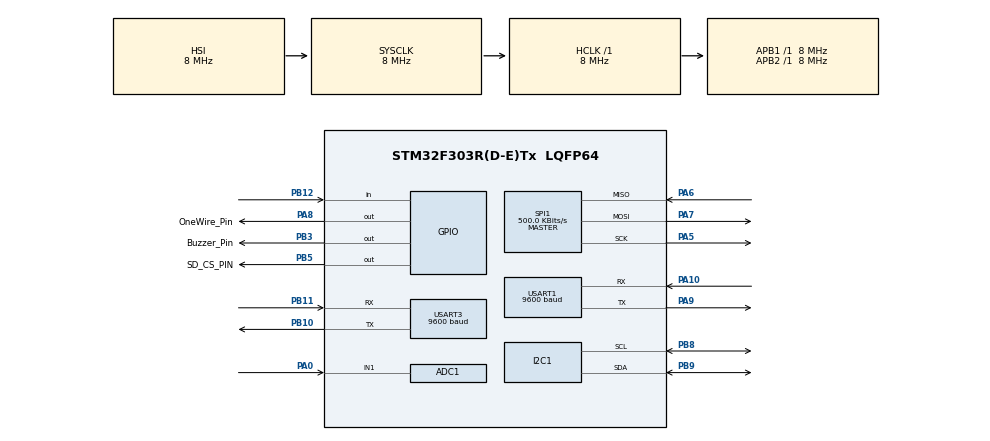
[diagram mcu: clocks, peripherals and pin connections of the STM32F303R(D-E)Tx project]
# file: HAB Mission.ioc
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ADC1.Channel-0\#ChannelRegularConversion=ADC_CHANNEL_1
ADC1.NbrOfConversionFlag=1
ADC1.Offset-0\#ChannelRegularConversion=0
ADC1.OffsetNumber-0\#ChannelRegularConversion=ADC_OFFSET_NONE
ADC1.Rank-0\#ChannelRegularConversion=1
ADC1.SamplingTime-0\#ChannelRegularConversion=ADC_SAMPLETIME_1CYCLE_5
ADC1.master=1
FREERTOS.Tasks01=defaultTask,24,256,StartDefaultTask,Default,NULL,Dynamic,NULL,NULL
FREERTOS.configUSE_NEWLIB_REENTRANT=1
I2C1.Timing=0x00201D2B
Mcu.Family=STM32F3
Mcu.Name=STM32F303R(D-E)Tx
Mcu.Package=LQFP64
NVIC.PriorityGroup=NVIC_PRIORITYGROUP_4
NVIC.USART1_IRQn=true\:5\:0\:false\:false\:true\:true\:true\:true\:true
PA0.Mode=IN1-Single-Ended
PA0.Signal=ADC1_IN1
PA10.Mode=Asynchronous
PA10.Signal=USART1_RX
PA13.Mode=Serial_Wire
PA13.Signal=SYS_JTMS-SWDIO
PA14.Mode=Serial_Wire
PA14.Signal=SYS_JTCK-SWCLK
PA2.Signal=USART2_TX
PA3.Signal=USART2_RX
PA5.Mode=Full_Duplex_Master
PA5.Signal=SPI1_SCK
PA6.Mode=Full_Duplex_Master
PA6.Signal=SPI1_MISO
PA7.Mode=Full_Duplex_Master
PA7.Signal=SPI1_MOSI
PA8.GPIO_Label=OneWire_Pin
PA8.GPIO_ModeDefaultOutputPP=GPIO_MODE_OUTPUT_OD
PA8.GPIO_PuPd=GPIO_NOPULL
PA8.Signal=GPIO_Output
PA9.Mode=Asynchronous
PA9.Signal=USART1_TX
PB10.Mode=Asynchronous
PB10.Signal=USART3_TX
PB11.Mode=Asynchronous
PB11.Signal=USART3_RX
PB12.Signal=GPIO_Input
PB3.GPIO_Label=Buzzer_Pin
PB3.Signal=GPIO_Output
PB5.GPIO_Label=SD_CS_PIN
PB5.Signal=GPIO_Output
PB8.Mode=I2C
PB8.Signal=I2C1_SCL
PB9.Mode=I2C
PB9.Signal=I2C1_SDA
ProjectManager.HeapSize=0x200
ProjectManager.StackSize=0x400
ProjectManager.TargetToolchain=STM32CubeIDE
RCC.AHBFreq_Value=8000000
RCC.APB1Freq_Value=8000000
RCC.APB2Freq_Value=8000000
RCC.CortexFreq_Value=8000000
RCC.HSE_VALUE=8000000
RCC.HSI_VALUE=8000000
RCC.LSE_VALUE=32768
RCC.SYSCLKFreq_VALUE=8000000
RCC.USBFreq_Value=16000000
SPI1.BaudRatePrescaler=SPI_BAUDRATEPRESCALER_16
SPI1.CalculateBaudRate=500.0 KBits/s
SPI1.DataSize=SPI_DATASIZE_8BIT
SPI1.Direction=SPI_DIRECTION_2LINES
SPI1.Mode=SPI_MODE_MASTER
SPI1.VirtualType=VM_MASTER
TIM2.Period=65535
TIM2.Prescaler=7
USART1.BaudRate=9600
USART1.VirtualMode-Asynchronous=VM_ASYNC
USART3.BaudRate=9600
USART3.VirtualMode-Asynchronous=VM_ASYNC
VP_FREERTOS_VS_CMSIS_V2.Mode=CMSIS_V2
VP_TIM2_VS_ClockSourceINT.Mode=Internal
board=custom

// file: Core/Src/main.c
/**
 * HICH TI FILE
  ******************************************************************************
  * @file           : main.c
  * @brief          : HAB-01 Flight Computer — Full Sensor Suite + LoRa + Nano SD Logging
  *
  * STM32F303RETx (Nucleo-F303RE)
  *
  * =========================================================================
  * ROOT CAUSE FIX — "Nano doesn't receive"
  * =========================================================================
  * The old code assigned the Nano to USART2 (PA2 / PA3).
  * On EVERY Nucleo-F303RE board, PA2 is HARDWIRED to the ST-Link chip for
  * the Virtual COM Port bridge.  The ST-Link fights every byte you send,
  * corrupting the line.  That is why the Nano never received data.
  *
  * FIX: Nano → USART1 (PA9 TX).  PA9 is on the Arduino header (D1) and has
  * NO ST-Link connection.  USART2 is removed entirely.
  *
  * UART ASSIGNMENT
  * ---------------
  *   USART1  PA9 (TX) / PA10 (RX)  →  Arduino Nano D2 SoftwareSerial (SD log)
  *   USART3  PB10(TX) / PB11(RX)   →  LoRa E32-433T30D
  *   (USART2 NOT USED — PA2 belongs to ST-Link)
  *
  * I2C1    PB8 (SCL) / PB9 (SDA)
  *   0x77  BMP180   — temperature + pressure
  *   0x53  ADXL345  — 3-axis accelerometer
  *   0x38  AHT10    — humidity + temperature
  *
  * OneWire  PA8  → DS18B20 external temperature
  * ADC1_IN1 PA0  → GUVA-S12SD UV sensor
  * TIM2         microsecond timer (prescaler=7 → 1 MHz @ 8 MHz SYSCLK)
  *
  * LoRa AUX busy pin → PB12 (GPIO input, no pull)
  * LoRa M0 → GND, M1 → GND  (transparent / broadcast mode)
  *
  * -------------------------------------------------------------------------
  * FreeRTOS HEAP
  * -------------------------------------------------------------------------
  *  Open  Core/Inc/FreeRTOSConfig.h
  *  Change:  #define configTOTAL_HEAP_SIZE  ((size_t)(3072))
  *  To:      #define configTOTAL_HEAP_SIZE  ((size_t)(10240))
  *  OR do it in CubeMX → Middleware → FREERTOS → TOTAL_HEAP_SIZE = 10240
  ******************************************************************************
  */
/* USER CODE END Header */
#include "main.h"
#include "cmsis_os.h"

/* USER CODE BEGIN Includes */
#include <stdio.h>
#include <string.h>
#include <math.h>
#include <stdlib.h>

/* USER CODE END Includes */

/* USER CODE BEGIN PD */
#define TELEM_BUF_SIZE   256
#define LORA_BUF_SIZE    256

/* LoRa E32 fixed addressing (address 0x0000, channel 0x06).
   Pass use_header=0 to LoRa_Send() for transparent/broadcast mode. */
#define LORA_ADDR_H  0x00
#define LORA_ADDR_L  0x00
#define LORA_CHAN     0x06
/* USER CODE END PD */

ADC_HandleTypeDef hadc1;

I2C_HandleTypeDef hi2c1;

SPI_HandleTypeDef hspi1;

TIM_HandleTypeDef htim2;

UART_HandleTypeDef huart1;
UART_HandleTypeDef huart3;

/* Definitions for defaultTask */
osThreadId_t defaultTaskHandle;
const osThreadAttr_t defaultTask_attributes = {
  .name = "defaultTask",
  .stack_size = 256 * 4,
  .priority = (osPriority_t) osPriorityNormal,
};
/* USER CODE BEGIN PV */

/* -- BMP180 ---------------------------------------------------------------- */
int16_t  AC1, AC2, AC3;
uint16_t AC4, AC5, AC6;
int16_t  B1, B2, MB, MC, MD;
int32_t  bmp_b5;
int32_t  bmp_temp;       /* 0.1 °C units  e.g. 248 = 24.8 °C */
int32_t  bmp_pressure;   /* Pa                                 */
int32_t  bmp_altitude;   /* m                                  */

/* -- AHT10 ----------------------------------------------------------------- */
int aht_t_int;   /* temp  ×100  e.g. 2404 = 24.04 °C */
int aht_h_int;   /* humid ×100  e.g. 5081 = 50.81 %  */

/* -- ADXL345 --------------------------------------------------------------- */
int16_t ax, ay, az;   /* mg */

/* -- UV -------------------------------------------------------------------- */
uint32_t uv_adc;
float    uv_voltage;

/* -- DS18B20 --------------------------------------------------------------- */
float dsb_temp;

/* -- LoRa RX --------------------------------------------------------------- */
volatile uint8_t lora_rx_byte;
static   char    lora_rx_buf[LORA_BUF_SIZE];
static   uint8_t lora_rx_idx = 0;
volatile char    lora_line_buf[LORA_BUF_SIZE];
volatile uint8_t lora_line_ready = 0;

/* -- Telemetry ------------------------------------------------------------- */
uint32_t telem_seq = 0;

/* USER CODE END PV */

void SystemClock_Config(void);
static void MX_GPIO_Init(void);
static void MX_ADC1_Init(void);
static void MX_I2C1_Init(void);
static void MX_SPI1_Init(void);
static void MX_USART1_UART_Init(void);
static void MX_TIM2_Init(void);
static void MX_USART3_UART_Init(void);
void StartDefaultTask(void *argument);

/* USER CODE BEGIN 0 */

/* ==========================================================================
   UTILITY
   ========================================================================== */

void delay_us(uint16_t us)
{
    __HAL_TIM_SET_COUNTER(&htim2, 0);
    while (__HAL_TIM_GET_COUNTER(&htim2) < us);
}

/*
 * Nano_Send — transmit to Arduino Nano over USART1 (PA9 TX).
 * This is the PRIMARY data path; Nano logs every packet to SD card.
 */
void Nano_Send(const char *msg)
{
    HAL_UART_Transmit(&huart1, (uint8_t *)msg, strlen(msg), 2000);
}

/*
 * LoRa_Send — transmit over LoRa E32 on USART3 (PB10 TX).
 * use_header=0  → transparent / broadcast mode (M0=GND, M1=GND)
 * use_header=1  → fixed-address mode (3-byte header prepended)
 */
void LoRa_Send(const char *msg, uint8_t use_header)
{
    if (use_header) {
        uint8_t hdr[3] = { LORA_ADDR_H, LORA_ADDR_L, LORA_CHAN };
        HAL_UART_Transmit(&huart3, hdr, 3, 500);
    }
    HAL_UART_Transmit(&huart3, (uint8_t *)msg, strlen(msg), 2000);
}

/* ==========================================================================
   I2C SCAN  (runs once at boot; output goes to Nano → SD card)
   ========================================================================== */

void I2C_Scan(void)
{
    char buf[24];
    Nano_Send("# I2C Scan\r\n");
    for (uint8_t addr = 1; addr < 128; addr++) {
        if (HAL_I2C_IsDeviceReady(&hi2c1, (uint16_t)(addr << 1), 1, 50) == HAL_OK) {
            snprintf(buf, sizeof(buf), "# I2C 0x%02X\r\n", addr);
            Nano_Send(buf);
        }
    }
    Nano_Send("# Scan end\r\n");
}

/* ==========================================================================
   BMP180
   ========================================================================== */

uint8_t BMP180_ReadID(void)
{
    uint8_t id = 0;
    HAL_I2C_Mem_Read(&hi2c1, 0x77 << 1, 0xD0,
                     I2C_MEMADD_SIZE_8BIT, &id, 1, 100);
    return id;
}

void BMP180_ReadCalibration(void)
{
    uint8_t data[22];
    HAL_I2C_Mem_Read(&hi2c1, 0x77 << 1, 0xAA,
                     I2C_MEMADD_SIZE_8BIT, data, 22, 100);
    AC1 = (int16_t) ((data[0]  << 8) | data[1]);
    AC2 = (int16_t) ((data[2]  << 8) | data[3]);
    AC3 = (int16_t) ((data[4]  << 8) | data[5]);
    AC4 = (uint16_t)((data[6]  << 8) | data[7]);
    AC5 = (uint16_t)((data[8]  << 8) | data[9]);
    AC6 = (uint16_t)((data[10] << 8) | data[11]);
    B1  = (int16_t) ((data[12] << 8) | data[13]);
    B2  = (int16_t) ((data[14] << 8) | data[15]);
    MB  = (int16_t) ((data[16] << 8) | data[17]);
    MC  = (int16_t) ((data[18] << 8) | data[19]);
    MD  = (int16_t) ((data[20] << 8) | data[21]);
}

/* Returns temperature in 0.1 °C; must be called BEFORE BMP180_ReadPressure */
int32_t BMP180_ReadTemperature(void)
{
    uint8_t cmd = 0x2E, data[2];
    HAL_I2C_Mem_Write(&hi2c1, 0x77 << 1, 0xF4,
                      I2C_MEMADD_SIZE_8BIT, &cmd, 1, 100);
    HAL_Delay(5);
    HAL_I2C_Mem_Read(&hi2c1, 0x77 << 1, 0xF6,
                     I2C_MEMADD_SIZE_8BIT, data, 2, 100);
    int32_t UT = ((int32_t)data[0] << 8) | data[1];
    int32_t X1 = ((UT - (int32_t)AC6) * (int32_t)AC5) >> 15;
    int32_t X2 = ((int32_t)MC << 11) / (X1 + (int32_t)MD);
    bmp_b5 = X1 + X2;
    return (bmp_b5 + 8) >> 4;
}

/* Must call BMP180_ReadTemperature() first to populate bmp_b5 */
int32_t BMP180_ReadPressure(void)
{
    uint8_t cmd = 0x34, data[3];
    HAL_I2C_Mem_Write(&hi2c1, 0x77 << 1, 0xF4,
                      I2C_MEMADD_SIZE_8BIT, &cmd, 1, 100);
    HAL_Delay(5);
    HAL_I2C_Mem_Read(&hi2c1, 0x77 << 1, 0xF6,
                     I2C_MEMADD_SIZE_8BIT, data, 3, 100);
    int32_t  UP = (((int32_t)data[0] << 16) |
                   ((int32_t)data[1] <<  8) |
                    (int32_t)data[2]) >> 8;
    int32_t  B6 = bmp_b5 - 4000;
    int32_t  X1 = (B2 * ((B6 * B6) >> 12)) >> 11;
    int32_t  X2 = (AC2 * B6) >> 11;
    int32_t  X3 = X1 + X2;
    int32_t  B3 = (((int32_t)AC1 * 4 + X3) + 2) >> 2;
    X1 = ((int32_t)AC3 * B6) >> 13;
    X2 = (B1 * ((B6 * B6) >> 12)) >> 16;
    X3 = ((X1 + X2) + 2) >> 2;
    uint32_t B4 = ((uint32_t)AC4 * (uint32_t)(X3 + 32768)) >> 15;
    uint32_t B7 = ((uint32_t)UP - (uint32_t)B3) * 50000UL;
    int32_t  p  = (B7 < 0x80000000UL)
                  ? (int32_t)((B7 * 2UL) / B4)
                  : (int32_t)((B7 / B4) * 2UL);
    X1 = (p >> 8) * (p >> 8);
    X1 = (X1 * 3038) >> 16;
    X2 = (-7357 * p) >> 16;
    return p + ((X1 + X2 + 3791) >> 4);
}

int32_t BMP180_CalculateAltitude(int32_t pressure)
{
    return (int32_t)(44330.0f *
           (1.0f - powf((float)pressure / 101325.0f, 0.1903f)));
}

/* ==========================================================================
   AHT10
   ========================================================================== */

void AHT10_Init(void)
{
    uint8_t cmd[3] = { 0xE1, 0x08, 0x00 };
    HAL_I2C_Master_Transmit(&hi2c1, 0x38 << 1, cmd, 3, 100);
    osDelay(50);
}

void AHT10_ReadAll(void)
{
    uint8_t cmd[3] = { 0xAC, 0x33, 0x00 };
    uint8_t data[6] = { 0 };
    HAL_I2C_Master_Transmit(&hi2c1, 0x38 << 1, cmd, 3, 100);
    osDelay(80);
    HAL_I2C_Master_Receive(&hi2c1, 0x38 << 1, data, 6, 100);
    uint32_t raw_h = ((uint32_t)data[1] << 12) |
                     ((uint32_t)data[2] <<  4) |
                      (data[3] >> 4);
    uint32_t raw_t = ((uint32_t)(data[3] & 0x0F) << 16) |
                     ((uint32_t)data[4] <<  8) |
                      data[5];
    aht_t_int = (int)(((float)raw_t * 200.0f / 1048576.0f - 50.0f) * 100.0f);
    aht_h_int = (int)(((float)raw_h * 100.0f / 1048576.0f) * 100.0f);
}

/* ==========================================================================
   ADXL345
   ========================================================================== */

#define ADXL345_ADDR  (0x53 << 1)

void ADXL345_Init(void)
{
    uint8_t d = 0x08;   /* POWER_CTL: measurement mode */
    HAL_I2C_Mem_Write(&hi2c1, ADXL345_ADDR, 0x2D,
                      I2C_MEMADD_SIZE_8BIT, &d, 1, 100);
    d = 0x0B;           /* DATA_FORMAT: full-res, ±16 g */
    HAL_I2C_Mem_Write(&hi2c1, ADXL345_ADDR, 0x31,
                      I2C_MEMADD_SIZE_8BIT, &d, 1, 100);
}

void ADXL345_ReadAccel(void)
{
    uint8_t data[6];
    if (HAL_I2C_Mem_Read(&hi2c1, ADXL345_ADDR, 0x32,
                          I2C_MEMADD_SIZE_8BIT, data, 6, 100) == HAL_OK) {
        ax = (int16_t)(((int16_t)((data[1] << 8) | data[0])) * 4);
        ay = (int16_t)(((int16_t)((data[3] << 8) | data[2])) * 4);
        az = (int16_t)(((int16_t)((data[5] << 8) | data[4])) * 4);
    } else {
        ax = ay = az = 0;
    }
}

/* ==========================================================================
   DS18B20 (OneWire on PA8)
   ========================================================================== */

uint8_t OneWire_Reset(void)
{
    GPIO_InitTypeDef g = { 0 };
    g.Pin   = OneWire_Pin_Pin;
    g.Mode  = GPIO_MODE_OUTPUT_OD;
    g.Pull  = GPIO_NOPULL;
    g.Speed = GPIO_SPEED_FREQ_HIGH;
    HAL_GPIO_Init(OneWire_Pin_GPIO_Port, &g);

    HAL_GPIO_WritePin(OneWire_Pin_GPIO_Port, OneWire_Pin_Pin, GPIO_PIN_RESET);
    delay_us(480);
    HAL_GPIO_WritePin(OneWire_Pin_GPIO_Port, OneWire_Pin_Pin, GPIO_PIN_SET);
    delay_us(70);

    g.Mode = GPIO_MODE_INPUT;
    HAL_GPIO_Init(OneWire_Pin_GPIO_Port, &g);
    uint8_t present = !HAL_GPIO_ReadPin(OneWire_Pin_GPIO_Port, OneWire_Pin_Pin);
    delay_us(410);
    return present;
}

void OneWire_WriteBit(uint8_t bit)
{
    GPIO_InitTypeDef g = { 0 };
    g.Pin   = OneWire_Pin_Pin;
    g.Mode  = GPIO_MODE_OUTPUT_OD;
    g.Pull  = GPIO_NOPULL;
    g.Speed = GPIO_SPEED_FREQ_HIGH;
    HAL_GPIO_Init(OneWire_Pin_GPIO_Port, &g);
    portENTER_CRITICAL();
    HAL_GPIO_WritePin(OneWire_Pin_GPIO_Port, OneWire_Pin_Pin, GPIO_PIN_RESET);
    if (bit) {
        delay_us(2);
        HAL_GPIO_WritePin(OneWire_Pin_GPIO_Port, OneWire_Pin_Pin, GPIO_PIN_SET);
        delay_us(58);
    } else {
        delay_us(60);
        HAL_GPIO_WritePin(OneWire_Pin_GPIO_Port, OneWire_Pin_Pin, GPIO_PIN_SET);
        delay_us(2);
    }
    portEXIT_CRITICAL();
}

uint8_t OneWire_ReadBit(void)
{
    GPIO_InitTypeDef g = { 0 };
    g.Pin   = OneWire_Pin_Pin;
    g.Mode  = GPIO_MODE_OUTPUT_OD;
    g.Pull  = GPIO_NOPULL;
    g.Speed = GPIO_SPEED_FREQ_HIGH;
    HAL_GPIO_Init(OneWire_Pin_GPIO_Port, &g);
    uint8_t bit;
    portENTER_CRITICAL();
    HAL_GPIO_WritePin(OneWire_Pin_GPIO_Port, OneWire_Pin_Pin, GPIO_PIN_RESET);
    delay_us(3);
    HAL_GPIO_WritePin(OneWire_Pin_GPIO_Port, OneWire_Pin_Pin, GPIO_PIN_SET);
    delay_us(10);
    bit = HAL_GPIO_ReadPin(OneWire_Pin_GPIO_Port, OneWire_Pin_Pin);
    delay_us(53);
    portEXIT_CRITICAL();
    return bit;
}

void OneWire_WriteByte(uint8_t data)
{
    for (uint8_t i = 0; i < 8; i++) {
        OneWire_WriteBit(data & 0x01);
        data >>= 1;
    }
}

uint8_t OneWire_ReadByte(void)
{
    uint8_t d = 0;
    for (uint8_t i = 0; i < 8; i++) {
        if (OneWire_ReadBit()) d |= (uint8_t)(1 << i);
    }
    return d;
}

float DS18B20_ReadTemp(void)
{
    if (!OneWire_Reset()) return -999.0f;
    OneWire_WriteByte(0xCC);
    OneWire_WriteByte(0x44);
    osDelay(800);
    if (!OneWire_Reset()) return -999.0f;
    OneWire_WriteByte(0xCC);
    OneWire_WriteByte(0xBE);
    uint8_t lsb = OneWire_ReadByte();
    uint8_t msb = OneWire_ReadByte();
    return (float)(int16_t)((msb << 8) | lsb) / 16.0f;
}

/* ==========================================================================
   UV  (GUVA-S12SD on PA0 / ADC1_IN1)
   ========================================================================== */

void UV_Read(void)
{
    uint32_t sum = 0;
    for (int i = 0; i < 16; i++) {
        HAL_ADC_Start(&hadc1);
        HAL_ADC_PollForConversion(&hadc1, 50);
        sum += HAL_ADC_GetValue(&hadc1);
        HAL_ADC_Stop(&hadc1);
        osDelay(2);
    }
    uv_adc     = sum / 16U;
    uv_voltage = ((float)uv_adc * 3.3f) / 4095.0f;
}

/* ==========================================================================
   TELEMETRY — CSV row sent to Nano (primary) then LoRa (secondary)
   ========================================================================== */

void Build_Telemetry(char *buf, size_t buf_size)
{
    int     dsb_int  = (int)dsb_temp;
    int     dsb_frac = (int)(fabsf(dsb_temp - (float)dsb_int) * 100.0f);
    int     uv_mv    = (int)(uv_voltage * 1000.0f);

    snprintf(buf, buf_size,
             "%lu,"
             "%ld,%ld,%ld,"
             "%d,%d,"
             "%d.%02d,%d,"
             "%d,%d,%d"
             "\r\n",
             (unsigned long)telem_seq,
             (long)bmp_temp, (long)bmp_pressure, (long)bmp_altitude,
             aht_t_int, aht_h_int,
             dsb_int, dsb_frac, uv_mv,
             (int)ax, (int)ay, (int)az);
}

/* USER CODE END 0 */

int main(void)
{

  /* MCU Configuration--------------------------------------------------------*/

  /* Reset of all peripherals, Initializes the Flash interface and the Systick. */
  HAL_Init();

  /* Configure the system clock */
  SystemClock_Config();

  /* Initialize all configured peripherals */
  MX_GPIO_Init();
  MX_ADC1_Init();
  MX_I2C1_Init();
  MX_SPI1_Init();
  MX_USART1_UART_Init();
  MX_TIM2_Init();
  MX_USART3_UART_Init();

  /* Init scheduler */
  osKernelInitialize();

  /* Create the thread(s) */
  /* creation of defaultTask */
  defaultTaskHandle = osThreadNew(StartDefaultTask, NULL, &defaultTask_attributes);

  /* Start scheduler */
  osKernelStart();

  /* We should never get here as control is now taken by the scheduler */

  /* Infinite loop */
  while (1)
  {

  }
}

void SystemClock_Config(void)
{
  RCC_OscInitTypeDef RCC_OscInitStruct = {0};
  RCC_ClkInitTypeDef RCC_ClkInitStruct = {0};
  RCC_PeriphCLKInitTypeDef PeriphClkInit = {0};

  /** Initializes the RCC Oscillators according to the specified parameters
  * in the RCC_OscInitTypeDef structure.
  */
  RCC_OscInitStruct.OscillatorType = RCC_OSCILLATORTYPE_HSI;
  RCC_OscInitStruct.HSIState = RCC_HSI_ON;
  RCC_OscInitStruct.HSICalibrationValue = RCC_HSICALIBRATION_DEFAULT;
  RCC_OscInitStruct.PLL.PLLState = RCC_PLL_ON;
  RCC_OscInitStruct.PLL.PLLSource = RCC_PLLSOURCE_HSI;
  RCC_OscInitStruct.PLL.PLLMUL = RCC_PLL_MUL2;
  RCC_OscInitStruct.PLL.PREDIV = RCC_PREDIV_DIV1;
  if (HAL_RCC_OscConfig(&RCC_OscInitStruct) != HAL_OK)
  {
    Error_Handler();
  }

  /** Initializes the CPU, AHB and APB buses clocks
  */
  RCC_ClkInitStruct.ClockType = RCC_CLOCKTYPE_HCLK|RCC_CLOCKTYPE_SYSCLK
                              |RCC_CLOCKTYPE_PCLK1|RCC_CLOCKTYPE_PCLK2;
  RCC_ClkInitStruct.SYSCLKSource = RCC_SYSCLKSOURCE_HSI;
  RCC_ClkInitStruct.AHBCLKDivider = RCC_SYSCLK_DIV1;
  RCC_ClkInitStruct.APB1CLKDivider = RCC_HCLK_DIV1;
  RCC_ClkInitStruct.APB2CLKDivider = RCC_HCLK_DIV1;

  if (HAL_RCC_ClockConfig(&RCC_ClkInitStruct, FLASH_LATENCY_0) != HAL_OK)
  {
    Error_Handler();
  }
  PeriphClkInit.PeriphClockSelection = RCC_PERIPHCLK_USART1|RCC_PERIPHCLK_USART3
                              |RCC_PERIPHCLK_I2C1|RCC_PERIPHCLK_ADC12
                              |RCC_PERIPHCLK_TIM2;
  PeriphClkInit.Usart1ClockSelection = RCC_USART1CLKSOURCE_PCLK2;
  PeriphClkInit.Usart3ClockSelection = RCC_USART3CLKSOURCE_PCLK1;
  PeriphClkInit.Adc12ClockSelection = RCC_ADC12PLLCLK_DIV1;
  PeriphClkInit.I2c1ClockSelection = RCC_I2C1CLKSOURCE_HSI;
  PeriphClkInit.Tim2ClockSelection = RCC_TIM2CLK_HCLK;
  if (HAL_RCCEx_PeriphCLKConfig(&PeriphClkInit) != HAL_OK)
  {
    Error_Handler();
  }
}

static void MX_ADC1_Init(void)
{

  ADC_MultiModeTypeDef multimode = {0};
  ADC_ChannelConfTypeDef sConfig = {0};

  /** Common config
  */
  hadc1.Instance = ADC1;
  hadc1.Init.ClockPrescaler = ADC_CLOCK_ASYNC_DIV1;
  hadc1.Init.Resolution = ADC_RESOLUTION_12B;
  hadc1.Init.ScanConvMode = ADC_SCAN_DISABLE;
  hadc1.Init.ContinuousConvMode = DISABLE;
  hadc1.Init.DiscontinuousConvMode = DISABLE;
  hadc1.Init.ExternalTrigConvEdge = ADC_EXTERNALTRIGCONVEDGE_NONE;
  hadc1.Init.ExternalTrigConv = ADC_SOFTWARE_START;
  hadc1.Init.DataAlign = ADC_DATAALIGN_RIGHT;
  hadc1.Init.NbrOfConversion = 1;
  hadc1.Init.DMAContinuousRequests = DISABLE;
  hadc1.Init.EOCSelection = ADC_EOC_SINGLE_CONV;
  hadc1.Init.LowPowerAutoWait = DISABLE;
  hadc1.Init.Overrun = ADC_OVR_DATA_OVERWRITTEN;
  if (HAL_ADC_Init(&hadc1) != HAL_OK)
  {
    Error_Handler();
  }

  /** Configure the ADC multi-mode
  */
  multimode.Mode = ADC_MODE_INDEPENDENT;
  if (HAL_ADCEx_MultiModeConfigChannel(&hadc1, &multimode) != HAL_OK)
  {
    Error_Handler();
  }

  /** Configure Regular Channel
  */
  sConfig.Channel = ADC_CHANNEL_1;
  sConfig.Rank = ADC_REGULAR_RANK_1;
  sConfig.SingleDiff = ADC_SINGLE_ENDED;
  sConfig.SamplingTime = ADC_SAMPLETIME_1CYCLE_5;
  sConfig.OffsetNumber = ADC_OFFSET_NONE;
  sConfig.Offset = 0;
  if (HAL_ADC_ConfigChannel(&hadc1, &sConfig) != HAL_OK)
  {
    Error_Handler();
  }

}

static void MX_I2C1_Init(void)
{

  hi2c1.Instance = I2C1;
  hi2c1.Init.Timing = 0x00201D2B;
  hi2c1.Init.OwnAddress1 = 0;
  hi2c1.Init.AddressingMode = I2C_ADDRESSINGMODE_7BIT;
  hi2c1.Init.DualAddressMode = I2C_DUALADDRESS_DISABLE;
  hi2c1.Init.OwnAddress2 = 0;
  hi2c1.Init.OwnAddress2Masks = I2C_OA2_NOMASK;
  hi2c1.Init.GeneralCallMode = I2C_GENERALCALL_DISABLE;
  hi2c1.Init.NoStretchMode = I2C_NOSTRETCH_DISABLE;
  if (HAL_I2C_Init(&hi2c1) != HAL_OK)
  {
    Error_Handler();
  }

  /** Configure Analogue filter
  */
  if (HAL_I2CEx_ConfigAnalogFilter(&hi2c1, I2C_ANALOGFILTER_ENABLE) != HAL_OK)
  {
    Error_Handler();
  }

  /** Configure Digital filter
  */
  if (HAL_I2CEx_ConfigDigitalFilter(&hi2c1, 0) != HAL_OK)
  {
    Error_Handler();
  }

}

static void MX_SPI1_Init(void)
{

  /* SPI1 parameter configuration*/
  hspi1.Instance = SPI1;
  hspi1.Init.Mode = SPI_MODE_MASTER;
  hspi1.Init.Direction = SPI_DIRECTION_2LINES;
  hspi1.Init.DataSize = SPI_DATASIZE_8BIT;
  hspi1.Init.CLKPolarity = SPI_POLARITY_LOW;
  hspi1.Init.CLKPhase = SPI_PHASE_1EDGE;
  hspi1.Init.NSS = SPI_NSS_SOFT;
  hspi1.Init.BaudRatePrescaler = SPI_BAUDRATEPRESCALER_16;
  hspi1.Init.FirstBit = SPI_FIRSTBIT_MSB;
  hspi1.Init.TIMode = SPI_TIMODE_DISABLE;
  hspi1.Init.CRCCalculation = SPI_CRCCALCULATION_DISABLE;
  hspi1.Init.CRCPolynomial = 7;
  hspi1.Init.CRCLength = SPI_CRC_LENGTH_DATASIZE;
  hspi1.Init.NSSPMode = SPI_NSS_PULSE_ENABLE;
  if (HAL_SPI_Init(&hspi1) != HAL_OK)
  {
    Error_Handler();
  }

}

static void MX_TIM2_Init(void)
{

  TIM_ClockConfigTypeDef sClockSourceConfig = {0};
  TIM_MasterConfigTypeDef sMasterConfig = {0};

  htim2.Instance = TIM2;
  htim2.Init.Prescaler = 7;
  htim2.Init.CounterMode = TIM_COUNTERMODE_UP;
  htim2.Init.Period = 65535;
  htim2.Init.ClockDivision = TIM_CLOCKDIVISION_DIV1;
  htim2.Init.AutoReloadPreload = TIM_AUTORELOAD_PRELOAD_DISABLE;
  if (HAL_TIM_Base_Init(&htim2) != HAL_OK)
  {
    Error_Handler();
  }
  sClockSourceConfig.ClockSource = TIM_CLOCKSOURCE_INTERNAL;
  if (HAL_TIM_ConfigClockSource(&htim2, &sClockSourceConfig) != HAL_OK)
  {
    Error_Handler();
  }
  sMasterConfig.MasterOutputTrigger = TIM_TRGO_RESET;
  sMasterConfig.MasterSlaveMode = TIM_MASTERSLAVEMODE_DISABLE;
  if (HAL_TIMEx_MasterConfigSynchronization(&htim2, &sMasterConfig) != HAL_OK)
  {
    Error_Handler();
  }

}

static void MX_USART1_UART_Init(void)
{

  huart1.Instance = USART1;
  huart1.Init.BaudRate = 9600;
  huart1.Init.WordLength = UART_WORDLENGTH_8B;
  huart1.Init.StopBits = UART_STOPBITS_1;
  huart1.Init.Parity = UART_PARITY_NONE;
  huart1.Init.Mode = UART_MODE_TX_RX;
  huart1.Init.HwFlowCtl = UART_HWCONTROL_NONE;
  huart1.Init.OverSampling = UART_OVERSAMPLING_16;
  huart1.Init.OneBitSampling = UART_ONE_BIT_SAMPLE_DISABLE;
  huart1.AdvancedInit.AdvFeatureInit = UART_ADVFEATURE_NO_INIT;
  if (HAL_UART_Init(&huart1) != HAL_OK)
  {
    Error_Handler();
  }

}

static void MX_USART3_UART_Init(void)
{

  huart3.Instance = USART3;
  huart3.Init.BaudRate = 9600;
  huart3.Init.WordLength = UART_WORDLENGTH_8B;
  huart3.Init.StopBits = UART_STOPBITS_1;
  huart3.Init.Parity = UART_PARITY_NONE;
  huart3.Init.Mode = UART_MODE_TX_RX;
  huart3.Init.HwFlowCtl = UART_HWCONTROL_NONE;
  huart3.Init.OverSampling = UART_OVERSAMPLING_16;
  huart3.Init.OneBitSampling = UART_ONE_BIT_SAMPLE_DISABLE;
  huart3.AdvancedInit.AdvFeatureInit = UART_ADVFEATURE_NO_INIT;
  if (HAL_UART_Init(&huart3) != HAL_OK)
  {
    Error_Handler();
  }

}

static void MX_GPIO_Init(void)
{
  GPIO_InitTypeDef GPIO_InitStruct = {0};

  /* GPIO Ports Clock Enable */
  __HAL_RCC_GPIOA_CLK_ENABLE();
  __HAL_RCC_GPIOB_CLK_ENABLE();

  /*Configure GPIO pin Output Level */
  HAL_GPIO_WritePin(OneWire_Pin_GPIO_Port, OneWire_Pin_Pin, GPIO_PIN_RESET);

  /*Configure GPIO pin Output Level */
  HAL_GPIO_WritePin(GPIOB, Buzzer_Pin_Pin|SD_CS_PIN_Pin, GPIO_PIN_RESET);

  /*Configure GPIO pins : PA2 PA3 */
  GPIO_InitStruct.Pin = GPIO_PIN_2|GPIO_PIN_3;
  GPIO_InitStruct.Mode = GPIO_MODE_AF_PP;
  GPIO_InitStruct.Pull = GPIO_NOPULL;
  GPIO_InitStruct.Speed = GPIO_SPEED_FREQ_HIGH;
  GPIO_InitStruct.Alternate = GPIO_AF7_USART2;
  HAL_GPIO_Init(GPIOA, &GPIO_InitStruct);

  /*Configure GPIO pin : PB12 */
  GPIO_InitStruct.Pin = GPIO_PIN_12;
  GPIO_InitStruct.Mode = GPIO_MODE_INPUT;
  GPIO_InitStruct.Pull = GPIO_NOPULL;
  HAL_GPIO_Init(GPIOB, &GPIO_InitStruct);

  /*Configure GPIO pin : OneWire_Pin_Pin */
  GPIO_InitStruct.Pin = OneWire_Pin_Pin;
  GPIO_InitStruct.Mode = GPIO_MODE_OUTPUT_OD;
  GPIO_InitStruct.Pull = GPIO_NOPULL;
  GPIO_InitStruct.Speed = GPIO_SPEED_FREQ_LOW;
  HAL_GPIO_Init(OneWire_Pin_GPIO_Port, &GPIO_InitStruct);

  /*Configure GPIO pins : Buzzer_Pin_Pin SD_CS_PIN_Pin */
  GPIO_InitStruct.Pin = Buzzer_Pin_Pin|SD_CS_PIN_Pin;
  GPIO_InitStruct.Mode = GPIO_MODE_OUTPUT_PP;
  GPIO_InitStruct.Pull = GPIO_NOPULL;
  GPIO_InitStruct.Speed = GPIO_SPEED_FREQ_LOW;
  HAL_GPIO_Init(GPIOB, &GPIO_InitStruct);

}

void StartDefaultTask(void *argument)
{
  for(;;)
  {
    osDelay(1);
  }
}

void Error_Handler(void)
{
  __disable_irq();
  while (1)
  {
  }
}
